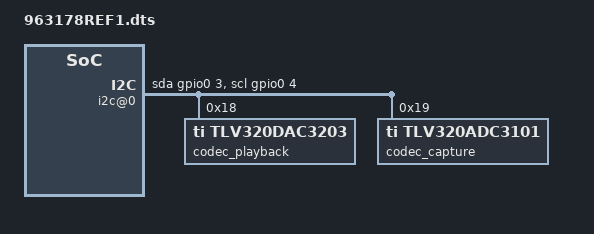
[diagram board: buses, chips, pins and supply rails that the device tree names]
#include "963178.dts"

/{
	ubus@ff800000 {

		i2c@0 {
			compatible = "i2c-gpio";
			gpios = <&gpio0 3 0 &gpio0 4 0>;/* sda and scl */
			i2c-gpio,delay-us   = <50>;     /* ~10 kHz */
			i2c-gpio,timeout-ms = <100>;    /* 100ms */
			#address-cells = <1>;
			#size-cells = <0>;

			codec_playback:codec_playback@18{
		  compatible = "ti,tlv320dac3203";
		  reg = <0x18>;
		  };
			codec_capture:codec_capture@19{
		  compatible = "ti,tlv320adc3101";
		  reg = <0x19>;
		  };
		};
	};

};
